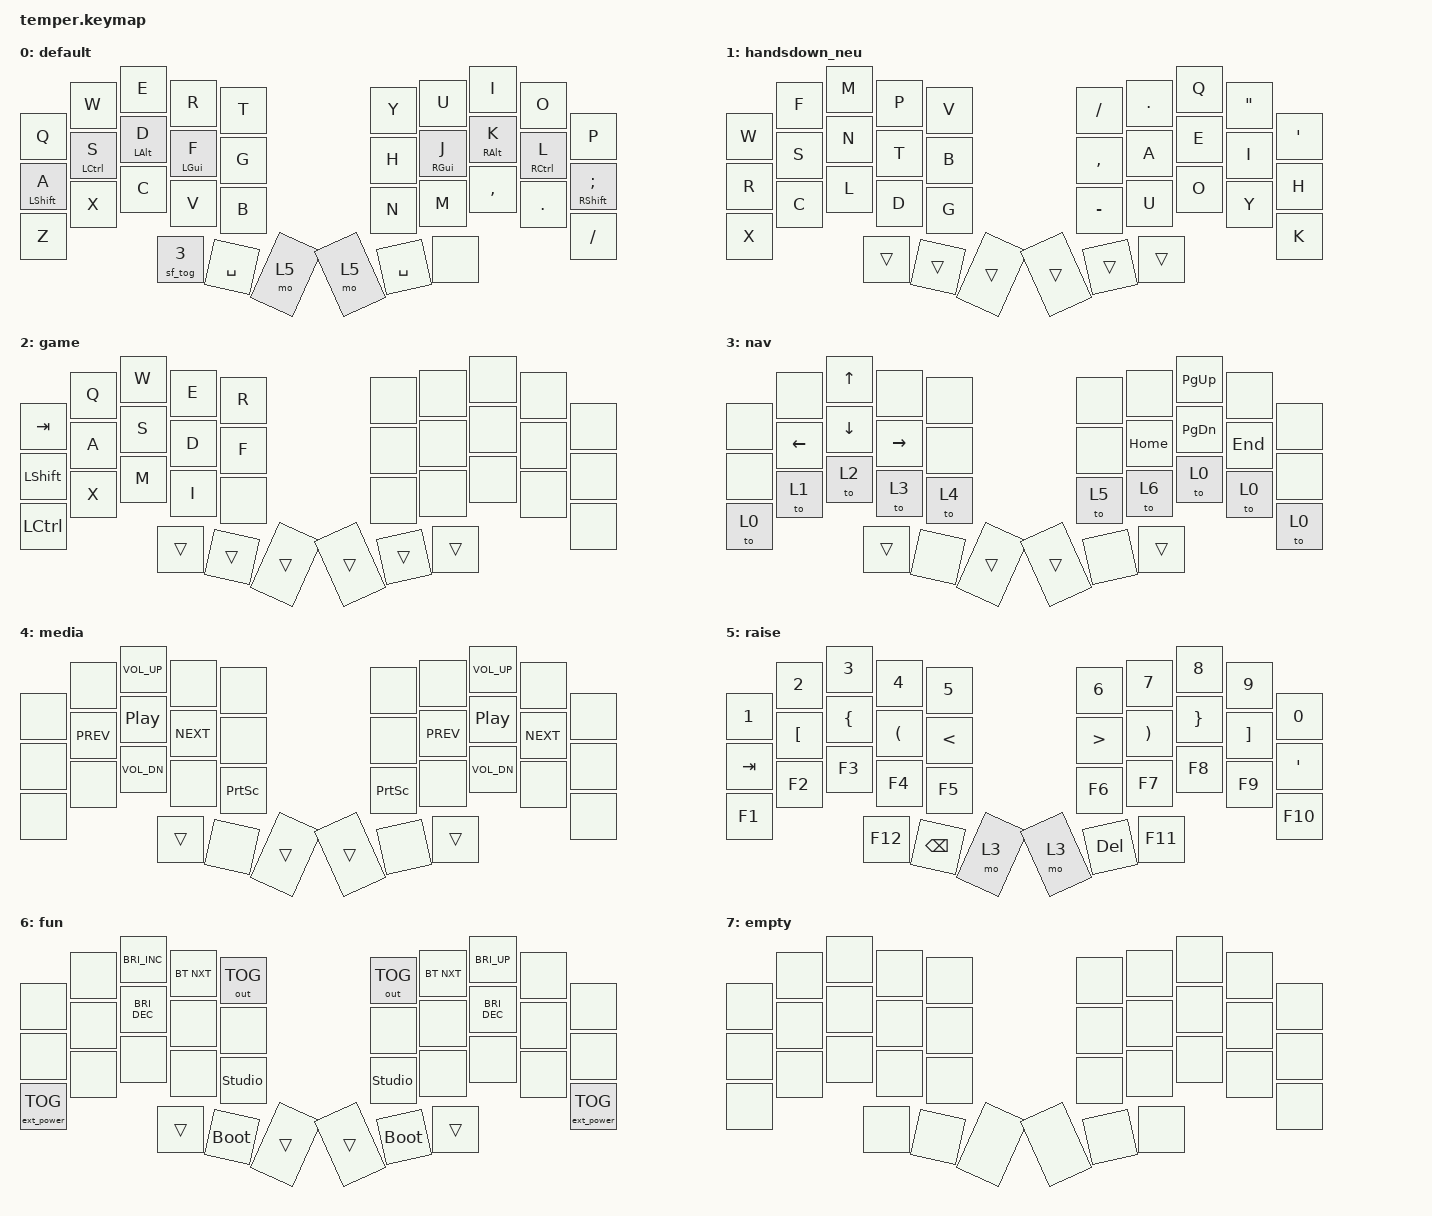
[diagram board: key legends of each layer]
/*
 * Copyright (c) 2020 duckyb
 *
 * SPDX-License-Identifier: MIT
 */

#include <dt-bindings/zmk/mouse.h>
#include <behaviors.dtsi>
#include <dt-bindings/zmk/bt.h>
#include <dt-bindings/zmk/ext_power.h>
#include <dt-bindings/zmk/keys.h>
#include <dt-bindings/zmk/outputs.h>

#define DEFAULT 0
#define DEFAULT_1h 0
#define HNSD 2
#define HNSD_1h 3
#define NUM 4
#define NUM_1h 5
#define NAV 6
#define NAV_1h 7
#define FUN 8
#define FUN_1h 9
#define RAISE 10
#define RAISE_1h 11

&sk { quick-release; };

&lt {
    flavor = "hold-preferred";
    quick-tap-ms = <180>;
};

/ {
    behaviors {
        hm: hm {
            compatible = "zmk,behavior-hold-tap";
            label = "HM";
            bindings = <&kp>, <&kp>;

            #binding-cells = <2>;
            quick-tap-ms = <175>;
            tapping-term-ms = <210>;
            global-quick-tap;
            flavor = "balanced";
            require-prior-idle-ms = <150>;
            hold-trigger-on-release;
        };

        hml: hml {
            compatible = "zmk,behavior-hold-tap";
            label = "HML";
            bindings = <&kp>, <&kp>;

            #binding-cells = <2>;
            tapping-term-ms = <280>;
            quick-tap-ms = <175>;
            require-prior-idle-ms = <150>;
            flavor = "balanced";
            hold-trigger-on-release;
            hold-trigger-key-positions = <0 1 2 3 4 20 21 22 23 24 14 30 31 32 33 34 35 25 15 5 6 16 26 27 17 7 8 18 28 29 19 9>;
        };

        hmr: hmr {
            compatible = "zmk,behavior-hold-tap";
            label = "HMR";
            bindings = <&kp>, <&kp>;

            #binding-cells = <2>;
            tapping-term-ms = <280>;
            quick-tap-ms = <175>;
            require-prior-idle-ms = <150>;
            flavor = "balanced";
            hold-trigger-on-release;
            hold-trigger-key-positions = <0 10 20 21 1 11 12 2 3 4 24 14 13 23 22 30 31 32 33 34 35 25 26 28 27 29 9 8 7 6 5 15>;
        };

        mo_tog: mo_tog {
            compatible = "zmk,behavior-hold-tap";
            label = "MO_TOG";
            bindings = <&mo>, <&tog>;

            #binding-cells = <2>;
            tapping-term-ms = <200>;
            quick-tap-ms = <180>;
        };

        hm_bak: hm_bak {
            compatible = "zmk,behavior-hold-tap";
            label = "HM_BAK";
            bindings = <&kp>, <&kp>;

            #binding-cells = <2>;
            quick-tap-ms = <170>;
            tapping-term-ms = <190>;
            global-quick-tap;
            flavor = "tap-preferred";
        };

        dep_sf_tog: dep_sf_tog {
            compatible = "zmk,behavior-hold-tap";
            label = "DEP_SF_TOG";
            bindings = <&tog>, <&tog>;

            #binding-cells = <2>;
            require-prior-idle-ms = <200>;
            flavor = "hold-preferred";
            tapping-term-ms = <1>;
        };

        dep_sf_kp: dep_sf_kp {
            compatible = "zmk,behavior-hold-tap";
            label = "DEP_SF_KP";
            bindings = <&kp>, <&kp>;

            #binding-cells = <2>;
            require-prior-idle-ms = <200>;
            flavor = "hold-preferred";
            tapping-term-ms = <1>;
        };
    };

    combos {
        compatible = "zmk,combos";

        enter {
            bindings = <&kp ENTER>;
            key-positions = <34 31>;
            timeout-ms = <30>;
        };

        escape {
            bindings = <&kp ESC>;
            key-positions = <1 0>;
            timeout-ms = <75>;
        };

        rh-dash {
            bindings = <&kp MINUS>;
            key-positions = <8 7>;
            require-prior-idle-ms = <50>;
            layers = <0 1 5>;
        };

        equals {
            bindings = <&kp EQUAL>;
            key-positions = <9 8>;
            timeout-ms = <75>;
            layers = <0 1 5>;
        };

        lh-dash {
            bindings = <&kp MINUS>;
            key-positions = <1 2>;
            require-prior-idle-ms = <50>;
            layers = <0 1 5>;
        };

        reset_layers {
            bindings = <&to 0>;
            key-positions = <0 9>;
            timeout-ms = <75>;
        };

        rh-apos {
            bindings = <&kp APOS>;
            key-positions = <7 18>;
            require-prior-idle-ms = <50>;
            layers = <0 1 5>;
        };

        rh-quote {
            bindings = <&kp DOUBLE_QUOTES>;
            key-positions = <8 19>;
            require-prior-idle-ms = <50>;
            layers = <0 1 5>;
        };

        rh-pipe {
            bindings = <&kp PIPE>;
            key-positions = <5 25>;
            timeout-ms = <75>;
            layers = <0 1 5>;
        };

        lh-apos {
            bindings = <&kp APOS>;
            key-positions = <2 11>;
            require-prior-idle-ms = <50>;
            layers = <0 1 5>;
        };

        lf-quote {
            bindings = <&kp DOUBLE_QUOTES>;
            key-positions = <1 10>;
            require-prior-idle-ms = <50>;
            layers = <0 1 5>;
        };

        lh-pipe {
            bindings = <&kp PIPE>;
            key-positions = <4 24>;
            timeout-ms = <75>;
            layers = <0 1 5>;
        };

        rh-forwardslash {
            bindings = <&kp SLASH>;
            key-positions = <17 26>;
            timeout-ms = <75>;
            layers = <0 1 5>;
        };

        lh-forwardslash {
            bindings = <&kp SLASH>;
            key-positions = <12 21>;
            timeout-ms = <75>;
            layers = <1 0 5>;
        };

        rh-backslash {
            bindings = <&kp BACKSLASH>;
            key-positions = <17 28>;
            timeout-ms = <75>;
            layers = <0 1 5>;
        };

        lh-backslash {
            bindings = <&kp BACKSLASH>;
            key-positions = <12 23>;
            timeout-ms = <75>;
            layers = <0 1 5>;
        };

        lh-grave {
            bindings = <&kp GRAVE>;
            key-positions = <1 12>;
            require-prior-idle-ms = <50>;
            layers = <0 1 5>;
        };

        rh-grave {
            bindings = <&kp GRAVE>;
            key-positions = <6 17>;
            require-prior-idle-ms = <50>;
            layers = <0 1 5>;
        };

        nav_jump {
            bindings = <&mo 3>;
            key-positions = <32 33>;
            slow-release;
            timeout-ms = <75>;
            layers = <0 1>;
        };

        lh_mute {
            bindings = <&kp C_MUTE>;
            key-positions = <2 22>;
            timeout-ms = <75>;
            layers = <4>;
        };

        rh_mute {
            bindings = <&kp C_MUTE>;
            key-positions = <7 27>;
            timeout-ms = <75>;
            layers = <4>;
        };

        Clear_bt {
            bindings = <&bt BT_CLR>;
            key-positions = <3 6>;
            require-prior-idle-ms = <150>;
            layers = <6>;
        };

        lh_copy {
            bindings = <&kp LC(C)>;
            key-positions = <21 22>;
            require-prior-idle-ms = <100>;
            layers = <0 1>;
        };

        rh_copy {
            bindings = <&kp LC(C)>;
            key-positions = <27 28>;
            require-prior-idle-ms = <100>;
            layers = <0 1>;
        };

        lh_paste {
            bindings = <&kp LC(V)>;
            key-positions = <22 23>;
            require-prior-idle-ms = <100>;
            layers = <0 1>;
        };

        rh_paste {
            bindings = <&kp LC(V)>;
            key-positions = <27 26>;
            require-prior-idle-ms = <100>;
            layers = <0 1>;
        };

        lh_cut {
            bindings = <&kp LC(X)>;
            key-positions = <21 23>;
            require-prior-idle-ms = <100>;
            layers = <0 1>;
        };

        rh_cut {
            bindings = <&kp LC(X)>;
            key-positions = <26 28>;
            require-prior-idle-ms = <100>;
            layers = <0 1>;
        };

        lh_undo {
            bindings = <&kp LC(Z)>;
            key-positions = <20 21>;
            require-prior-idle-ms = <100>;
            layers = <0 1>;
        };

        rh_undo {
            bindings = <&kp LC(Z)>;
            key-positions = <28 29>;
            require-prior-idle-ms = <100>;
            layers = <0 1>;
        };

        lh_redo {
            bindings = <&kp LC(Y)>;
            key-positions = <24 23>;
            require-prior-idle-ms = <100>;
            layers = <0 1>;
        };

        rh_redo {
            bindings = <&kp LC(Y)>;
            key-positions = <25 26>;
            require-prior-idle-ms = <100>;
            layers = <0 1>;
        };

        nav_back {
            bindings = <&tog 3>;
            key-positions = <30 35>;
            layers = <0 1 2>;
        };

        lh_prevent_nav_space {
            bindings = <&kp SPACE>;
            key-positions = <30 31>;
            layers = <0 1 2>;
            timeout-ms = <150>;
        };

        rh_prevent_nav_space {
            bindings = <&kp SPACE>;
            key-positions = <35 34>;
            layers = <0 1 2>;
            timeout-ms = <150>;
        };
    };

    macros {
        sf_tog: sf_tog {
            compatible = "zmk,behavior-macro-one-param";
            #binding-cells = <1>;
            bindings = <&macro_param_1to1 &macro_param_1to2 &dep_sf_tog MACRO_PLACEHOLDER MACRO_PLACEHOLDER>;
            label = "SF_TOG";
        };

        sf_kp: sf_kp {
            compatible = "zmk,behavior-macro-one-param";
            #binding-cells = <1>;
            bindings = <&macro_param_1to1 &macro_param_1to2 &dep_sf_kp MACRO_PLACEHOLDER MACRO_PLACEHOLDER>;
            label = "SF_KP";
        };
    };

    keymap {
        compatible = "zmk,keymap";

        default {
            bindings = <
  &kp Q             &kp W        &kp E           &kp R           &kp T    &kp Y  &kp U            &kp I            &kp O                &kp P
  &hm LEFT_SHIFT A  &hm LCTRL S  &hm LEFT_ALT D  &hm LEFT_GUI F  &kp G    &kp H  &hm RIGHT_GUI J  &hm RIGHT_ALT K  &hm RIGHT_CONTROL L  &hm RIGHT_SHIFT SEMI
  &kp Z             &kp X        &kp C           &kp V           &kp B    &kp N  &kp M            &kp COMMA        &kp DOT              &kp FSLH
                                 &sf_tog 3       &kp SPACE       &mo 5    &mo 5  &kp SPACE        &none
            >;
        };

        handsdown_neu {
            bindings = <
  &kp W  &kp F  &kp M   &kp P   &kp V     &kp FSLH   &kp DOT  &kp Q   &kp DQT  &kp APOS
  &kp R  &kp S  &kp N   &kp T   &kp B     &kp COMMA  &kp A    &kp E   &kp I    &kp H
  &kp X  &kp C  &kp L   &kp D   &kp G     &kp MINUS  &kp U    &kp O   &kp Y    &kp K
                &trans  &trans  &trans    &trans     &trans   &trans
            >;
        };

        game {
            bindings = <
  &kp TAB         &kp Q  &kp W   &kp E   &kp R     &none   &none   &none   &none  &none
  &kp LEFT_SHIFT  &kp A  &kp S   &kp D   &kp F     &none   &none   &none   &none  &none
  &kp LCTRL       &kp X  &kp M   &kp I   &none     &none   &none   &none   &none  &none
                         &trans  &trans  &trans    &trans  &trans  &trans
            >;
        };

        nav {
            bindings = <
  &none  &none     &kp UP    &none      &none     &none   &none     &kp PG_UP  &none    &none
  &none  &kp LEFT  &kp DOWN  &kp RIGHT  &none     &none   &kp HOME  &kp PG_DN  &kp END  &none
  &to 0  &to 1     &to 2     &to 3      &to 4     &to 5   &to 6     &to 0      &to 0    &to 0
                   &trans    &none      &trans    &trans  &none     &trans
            >;
        };

        media {
            bindings = <
  &none  &none       &kp C_VOL_UP      &none       &none              &none            &none       &kp C_VOL_UP  &none       &none
  &none  &kp C_PREV  &kp C_PLAY_PAUSE  &kp C_NEXT  &none              &none            &kp C_PREV  &kp C_PP      &kp C_NEXT  &none
  &none  &none       &kp C_VOL_DN      &none       &kp PRINTSCREEN    &kp PRINTSCREEN  &none       &kp C_VOL_DN  &none       &none
                     &trans            &none       &trans             &trans           &none       &trans
            >;
        };

        raise {
            bindings = <
  &kp N1   &kp N2    &kp N3    &kp N4    &kp N5    &kp N6  &kp N7    &kp N8    &kp N9    &kp N0
  &kp TAB  &kp LBKT  &kp LBRC  &kp LPAR  &kp LT    &kp GT  &kp RPAR  &kp RBRC  &kp RBKT  &kp APOS
  &kp F1   &kp F2    &kp F3    &kp F4    &kp F5    &kp F6  &kp F7    &kp F8    &kp F9    &kp F10
                     &kp F12   &kp BSPC  &mo 3     &mo 3   &kp DEL   &kp F11
            >;
        };

        fun {
            bindings = <
  &none              &none  &kp C_BRI_INC  &bt BT_NXT   &out OUT_TOG      &out OUT_TOG    &bt BT_NXT   &kp C_BRI_UP   &none  &none
  &none              &none  &kp C_BRI_DEC  &none        &none             &none           &none        &kp C_BRI_DEC  &none  &none
  &ext_power EP_TOG  &none  &none          &none        &studio_unlock    &studio_unlock  &none        &none          &none  &ext_power EP_TOG
                            &trans         &bootloader  &trans            &trans          &bootloader  &trans
            >;
        };

        empty {
            bindings = <
  &none  &none  &none  &none  &none    &none  &none  &none  &none  &none
  &none  &none  &none  &none  &none    &none  &none  &none  &none  &none
  &none  &none  &none  &none  &none    &none  &none  &none  &none  &none
                &none  &none  &none    &none  &none  &none
            >;
        };
    };
};
